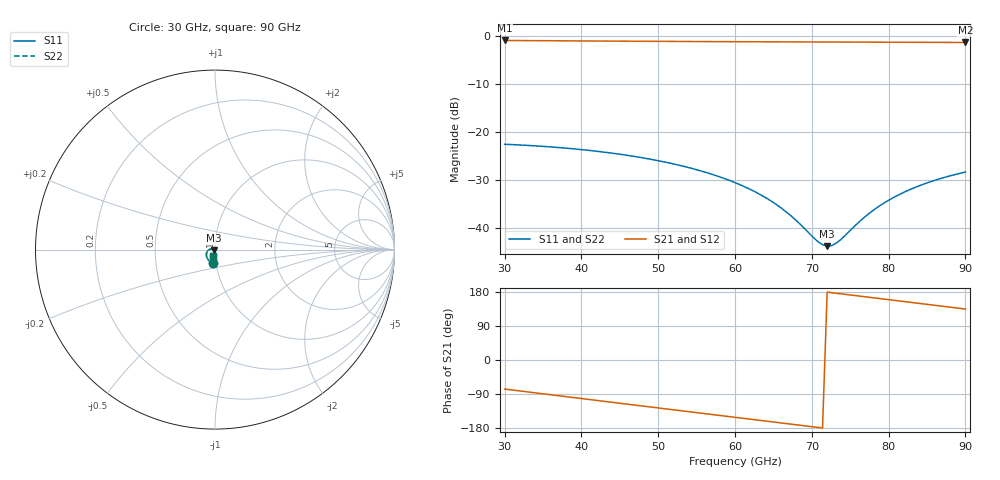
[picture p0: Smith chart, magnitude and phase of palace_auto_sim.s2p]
#  GHZ S DB R 50
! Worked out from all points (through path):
!   101 points, 30 GHz to 90 GHz, reference 50 ohm
!   highest |S21| = -0.90 dB at 30 GHz (marker M1); lowest = -1.3 dB at 90 GHz (marker M2)
!   group delay of S21, straight-line fit = 6.88 ps
!   lowest |S11| = -43.8 dB at 72 GHz (marker M3), VSWR 1.01, Z = 49.5 - j0.401 ohm
!   |S11| at or under -10 dB: start of sweep to end of sweep
!   |S22| runs from -43.7 to -22.6 dB; largest |S21 - S12| = 1e-13
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30  -22.54 -98.4  -0.90 -76.7  -0.90 -76.7  -22.58 -98.4
34.8  -22.96 -113.7  -0.95 -88.7  -0.95 -88.7  -23.00 -113.8
40.2  -23.69 -130.2  -1.01 -102.2  -1.01 -102.2  -23.74 -130.4
45  -24.62 -144.4  -1.05 -114.1  -1.05 -114.1  -24.67 -144.6
50.4  -26.10 -159.4  -1.09 -127.5  -1.09 -127.5  -26.15 -159.7
55.8  -28.21 -173.2  -1.13 -140.9  -1.13 -140.9  -28.26 -173.6
60  -30.54 177.7  -1.16 -151.2  -1.16 -151.2  -30.57 177.3
63  -32.78 172.9  -1.18 -158.7  -1.18 -158.7  -32.80 172.5
65.4  -35.12 171.4  -1.19 -164.6  -1.19 -164.6  -35.11 171.0
67.8  -38.19 174.7  -1.21 -170.5  -1.21 -170.5  -38.12 174.2
70.2  -41.98 -169.4  -1.22 -176.5  -1.22 -176.5  -41.82 -170.6
71.4  -43.49 -152.1  -1.23 -179.4  -1.23 -179.4  -43.32 -154.0
72  -43.79 -141.2  -1.23 179.1  -1.23 179.1  -43.66 -143.6
72.6  -43.67 -130.1  -1.23 177.6  -1.23 177.6  -43.59 -132.8
73.2  -43.15 -120.0  -1.24 176.1  -1.24 176.1  -43.15 -122.8
77.4  -37.05 -90.6  -1.26 165.7  -1.26 165.7  -37.22 -92.5
78.6  -35.64 -89.5  -1.26 162.7  -1.26 162.7  -35.81 -91.2
80.4  -33.86 -89.9  -1.27 158.3  -1.27 158.3  -34.03 -91.5
82.2  -32.41 -91.7  -1.28 153.8  -1.28 153.8  -32.58 -93.3
84.6  -30.84 -95.4  -1.30 147.9  -1.30 147.9  -31.00 -96.9
87  -29.58 -99.9  -1.31 141.9  -1.31 141.9  -29.74 -101.4
90  -28.34 -106.2  -1.33 134.5  -1.33 134.5  -28.50 -107.7
